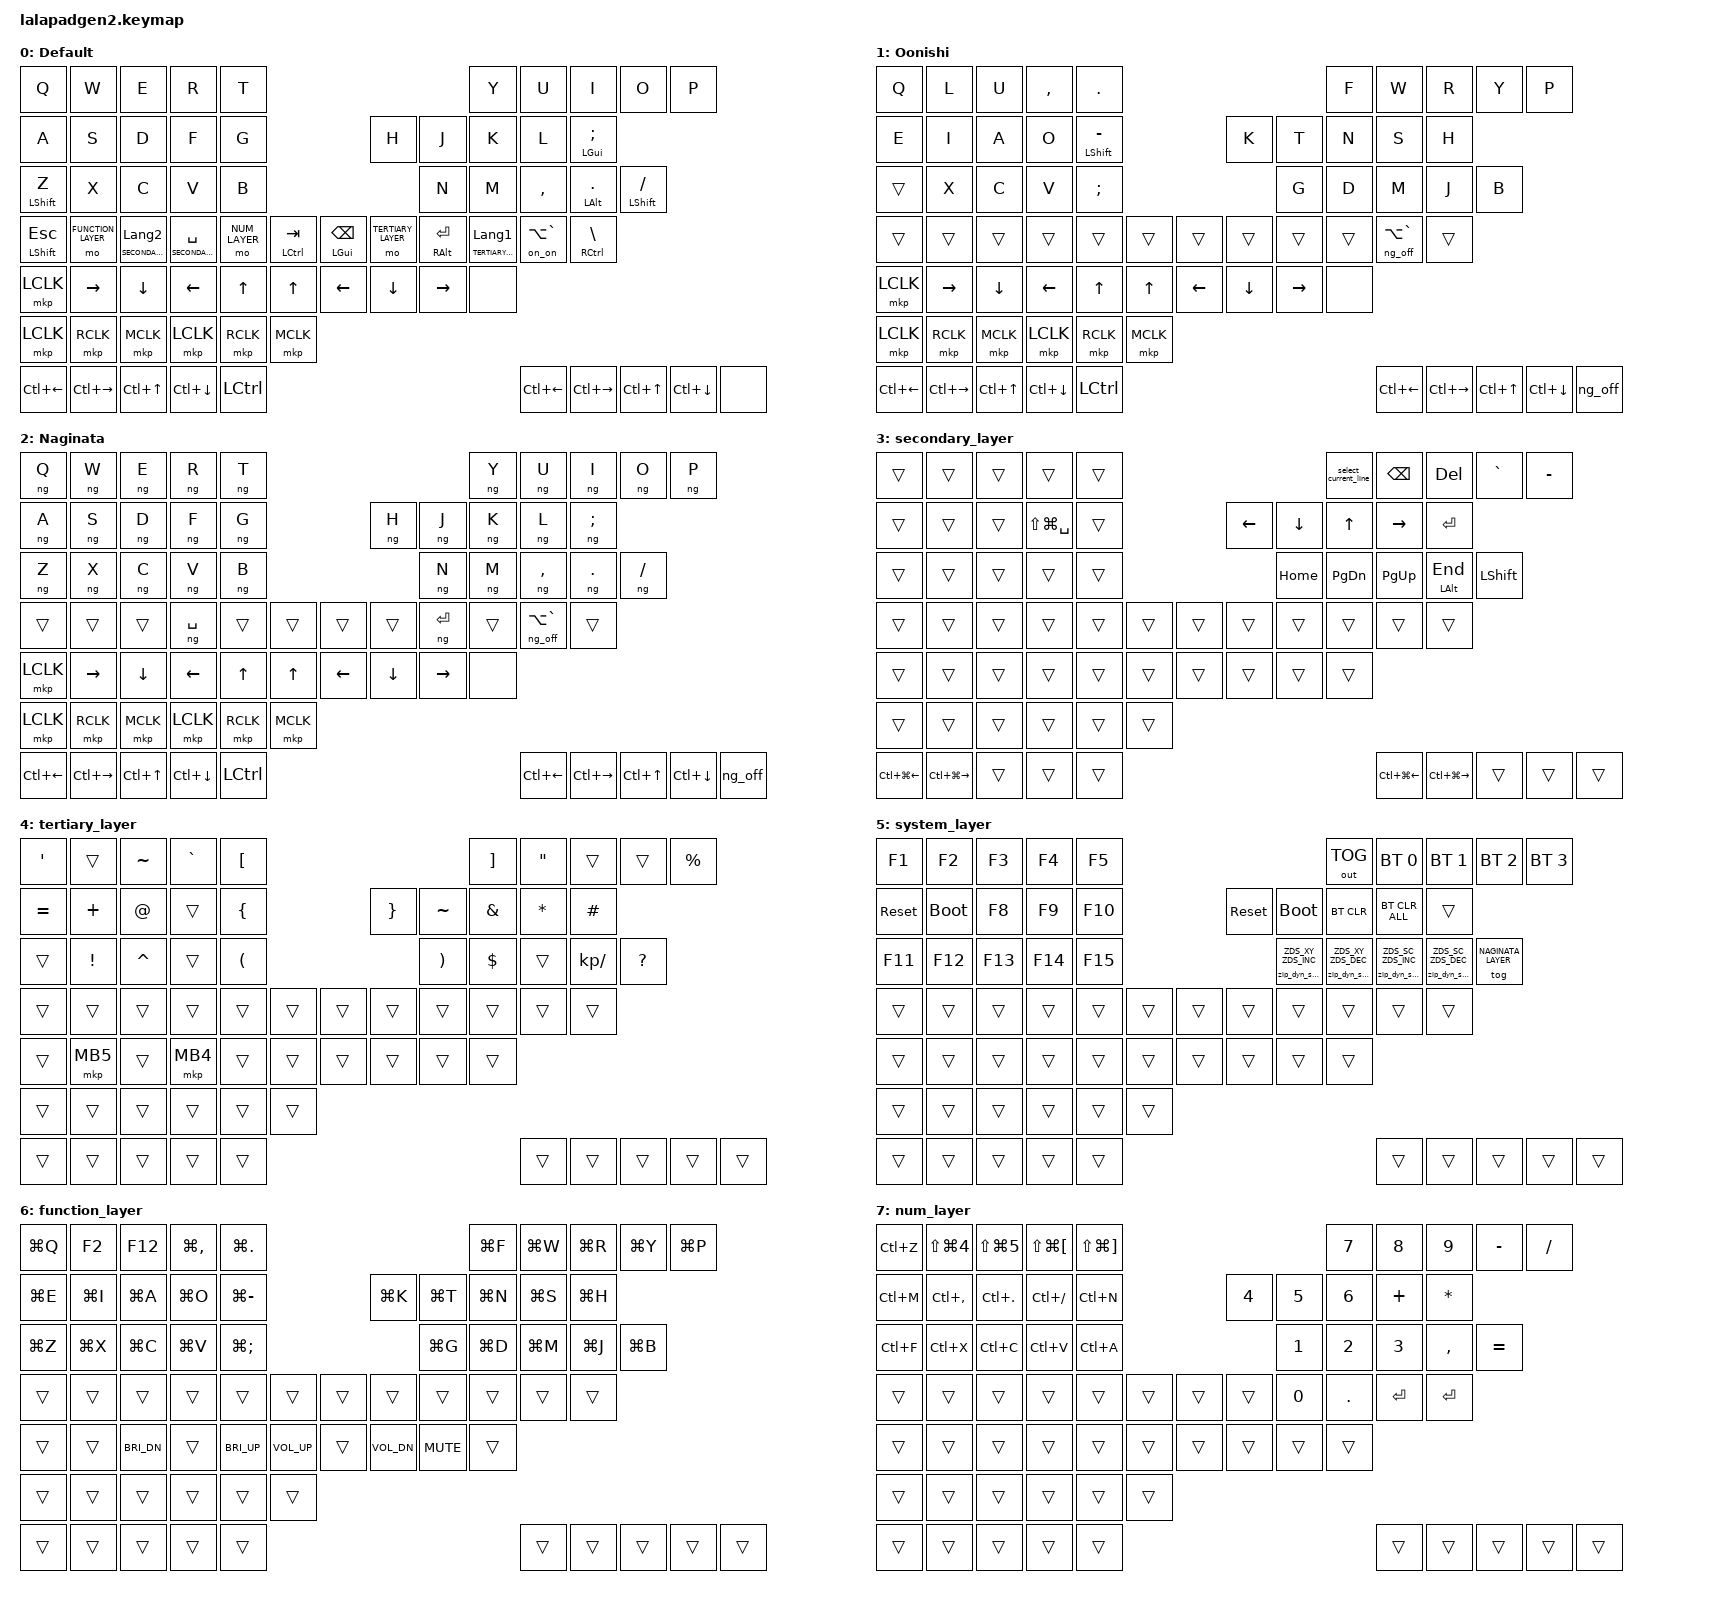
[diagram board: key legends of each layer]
#include <input/processors.dtsi>
#include <dt-bindings/zmk/zip_dynamic_scale.h>
#include <behaviors.dtsi>
#include <dt-bindings/zmk/bt.h>
#include <dt-bindings/zmk/keys.h>
#include <dt-bindings/zmk/outputs.h>
#include <dt-bindings/zmk/pointing.h>
#include <behaviors/naginata.dtsi>

#define DEFAULT_LAYER   0
#define OONISHI_LAYER   1
#define NAGINATA_LAYER  2
#define SECONDARY_LAYER 3
#define TERTIARY_LAYER  4
#define SYSTEM_LAYER    5
#define FUNCTION_LAYER  6
#define NUM_LAYER       7

&mt { quick-tap-ms = <200>; };

&lt {
    flavor = "hold-preferred";
    tapping-term-ms = <150>;
    quick-tap-ms = <150>;
};

/ {
    behaviors {
        zip_dyn_scale: zip_dyn_scale {
            compatible = "zmk,behavior-zip-dynamic-scale";
            #binding-cells = <2>;
        };

        zip_dyn_scale_set: zip_dyn_scale_set {
            compatible = "zmk,behavior-zip-dynamic-scale-set";
            #binding-cells = <2>;
        };

        mt2: mod_tap2 {
            compatible = "zmk,behavior-hold-tap";
            #binding-cells = <2>;
            flavor = "tap-preferred";
            tapping-term-ms = <200>;
            quick-tap-ms = <200>;
            require-prior-idle-ms = <125>;
            bindings = <&kp>, <&kp>;
        };

        z_mt: z_mod_tap {
            compatible = "zmk,behavior-hold-tap";
            #binding-cells = <2>;
            flavor = "tap-preferred";
            tapping-term-ms = <250>;
            quick-tap-ms = <250>;
            require-prior-idle-ms = <125>;
            bindings = <&kp>, <&kp>;
        };

        tap_dance_layer_1and2: tap_dance_layer_1and2 {
            compatible = "zmk,behavior-tap-dance";
            label = "td_mo12";
            #binding-cells = <0>;
            bindings = <&mo SECONDARY_LAYER>, <&mo TERTIARY_LAYER>;
        };

        on_lt: onishi_layer_tap {
            compatible = "zmk,behavior-hold-tap";
            #binding-cells = <2>;
            flavor = "hold-preferred";
            tapping-term-ms = <150>;
            quick-tap-ms = <150>;
            bindings = <&on_on>, <&kp>;
        };

        off_lt: default_layer_tap {
            compatible = "zmk,behavior-hold-tap";
            #binding-cells = <2>;
            flavor = "hold-preferred";
            tapping-term-ms = <150>;
            quick-tap-ms = <150>;
            bindings = <&ng_off>, <&kp>;
        };
    };

    macros {
        ng_on: ng_on {
            compatible = "zmk,behavior-macro";
            #binding-cells = <0>;
            bindings
                = <&macro_tap &kp LANGUAGE_1 &kp INTERNATIONAL_4 &to NAGINATA_LAYER>
                ;
        };
        ng_off: ng_off {
            compatible = "zmk,behavior-macro";
            #binding-cells = <0>;
            bindings
                = <&macro_tap &kp LANGUAGE_2 &kp INTERNATIONAL_5 &to DEFAULT_LAYER>
                ;
        };
        ng_off_to_oonishi: ng_off_to_oonishi {
            compatible = "zmk,behavior-macro";
            #binding-cells = <0>;
            bindings
                = <&macro_tap &kp LANGUAGE_2 &kp INTERNATIONAL_5 &to OONISHI_LAYER>
                ;
        };
        select_current_line: select_current_line {
            compatible = "zmk,behavior-macro";
            #binding-cells = <0>;
            bindings
                = <&macro_tap &kp LG(LEFT) &kp LS(LG(RIGHT))>
                ;
        };
        on_on: on_on {
            compatible = "zmk,behavior-macro";
            #binding-cells = <0>;
            bindings
                = <&macro_tap &kp LANGUAGE_2 &to OONISHI_LAYER>
                ;
        };
    };

    combos {
        compatible = "zmk,combos";

        CONBO_ESC {
            bindings = <&kp ESCAPE>;
            key-positions = <0 1>;
        };
        COMBO_TAB {
            bindings = <&kp TAB>;
            key-positions = <10 11>;
        };
        combo_ng_on {
            timeout-ms = <300>;
            bindings = <&ng_on>;
            key-positions = <15 16>;
            layers = <DEFAULT_LAYER OONISHI_LAYER>;
        };
        combo_ng_off {
            timeout-ms = <300>;
            bindings = <&ng_off_to_oonishi>;
            key-positions = <13 14>;
            layers = <DEFAULT_LAYER OONISHI_LAYER NAGINATA_LAYER>;
        };
    };

    keymap {
        compatible = "zmk,keymap";

        DEFAULT_LAYER {
            display-name = "Default";
            bindings = <
            &kp Q  &kp W  &kp E  &kp R  &kp T  &kp Y  &kp U  &kp I  &kp O  &kp P
            &kp A  &kp S  &kp D  &kp F  &kp G  &kp H  &kp J  &kp K  &kp L  &mt2 LEFT_GUI SEMI
            &z_mt LEFT_SHIFT Z  &kp X  &kp C  &kp V  &kp B  &kp N  &kp M  &kp COMMA  &mt LEFT_ALT PERIOD  &mt LEFT_SHIFT SLASH
            &mt LEFT_SHIFT ESC  &mo FUNCTION_LAYER  &lt SECONDARY_LAYER LANGUAGE_2  &lt SECONDARY_LAYER SPACE  &mo NUM_LAYER  &mt LCTRL TAB  &mt LGUI BACKSPACE  &mo TERTIARY_LAYER  &mt RALT ENTER  &lt TERTIARY_LAYER LANGUAGE_1  &on_lt 0 LA(GRAVE)  &mt RCTRL BACKSLASH
            &mkp LCLK  &kp RIGHT  &kp DOWN  &kp LEFT  &kp UP  &kp UP  &kp LEFT  &kp DOWN  &kp RIGHT  &none
            &mkp LCLK  &mkp RCLK  &mkp MCLK  &mkp LCLK  &mkp RCLK  &mkp MCLK
            &kp LC(LEFT)  &kp LC(RIGHT)  &kp LC(UP)  &kp LC(DOWN)  &kp LCTRL  &kp LC(LEFT)  &kp LC(RIGHT)  &kp LC(UP)  &kp LC(DOWN)  &none
            >;
        };

        OONISHI_LAYER {
            display-name = "Oonishi";
            bindings = <
            &kp Q  &kp L  &kp U  &kp COMMA  &kp DOT  &kp F  &kp W  &kp R  &kp Y  &kp P
            &kp E  &kp I  &kp A  &kp O  &mt LEFT_SHIFT MINUS  &kp K  &kp T  &kp N  &kp S  &kp H
            &trans  &kp X  &kp C  &kp V  &kp SEMI  &kp G  &kp D  &kp M  &kp J  &kp B
            &trans  &trans  &trans  &trans  &trans  &trans  &trans  &trans  &trans  &trans  &off_lt 0 LA(GRAVE)  &trans
            &mkp LCLK  &kp RIGHT  &kp DOWN  &kp LEFT  &kp UP  &kp UP  &kp LEFT  &kp DOWN  &kp RIGHT  &none
            &mkp LCLK  &mkp RCLK  &mkp MCLK  &mkp LCLK  &mkp RCLK  &mkp MCLK
            &kp LC(LEFT)  &kp LC(RIGHT)  &kp LC(UP)  &kp LC(DOWN)  &kp LCTRL  &kp LC(LEFT)  &kp LC(RIGHT)  &kp LC(UP)  &kp LC(DOWN)  &ng_off
            >;
        };

        NAGINATA_LAYER {
            display-name = "Naginata";
            bindings = <
            &ng Q  &ng W  &ng E  &ng R  &ng T  &ng Y  &ng U  &ng I  &ng O  &ng P
            &ng A  &ng S  &ng D  &ng F  &ng G  &ng H  &ng J  &ng K  &ng L  &ng SEMI
            &ng Z  &ng X  &ng C  &ng V  &ng B  &ng N  &ng M  &ng COMMA  &ng DOT  &ng SLASH
            &trans  &trans  &trans  &ng SPACE  &trans  &trans  &trans  &trans  &ng ENTER  &trans  &off_lt 0 LA(GRAVE)  &trans
            &mkp LCLK  &kp RIGHT  &kp DOWN  &kp LEFT  &kp UP  &kp UP  &kp LEFT  &kp DOWN  &kp RIGHT  &none
            &mkp LCLK  &mkp RCLK  &mkp MCLK  &mkp LCLK  &mkp RCLK  &mkp MCLK
            &kp LC(LEFT)  &kp LC(RIGHT)  &kp LC(UP)  &kp LC(DOWN)  &kp LCTRL  &kp LC(LEFT)  &kp LC(RIGHT)  &kp LC(UP)  &kp LC(DOWN)  &ng_off
            >;
        };

        SECONDARY_LAYER {
            display-name = "secondary_layer";
            bindings = <
            &trans  &trans  &trans  &trans  &trans  &select_current_line  &kp BACKSPACE  &kp DELETE  &kp GRAVE  &kp MINUS
            &trans  &trans  &trans  &kp LS(LG(SPACE))  &trans  &kp LEFT  &kp DOWN  &kp UP  &kp RIGHT  &kp ENTER
            &trans  &trans  &trans  &trans  &trans  &kp HOME  &kp PAGE_DOWN  &kp PAGE_UP  &mt LEFT_ALT END  &kp LEFT_SHIFT
            &trans  &trans  &trans  &trans  &trans  &trans  &trans  &trans  &trans  &trans  &trans  &trans
            &trans  &trans  &trans  &trans  &trans  &trans  &trans  &trans  &trans  &trans
            &trans  &trans  &trans  &trans  &trans  &trans
            &kp LC(LG(LEFT))  &kp LC(LG(RIGHT))  &trans  &trans  &trans  &kp LC(LG(LEFT))  &kp LC(LG(RIGHT))  &trans  &trans  &trans
            >;
        };

        TERTIARY_LAYER {
            display-name = "tertiary_layer";
            bindings = <
            &kp SQT  &trans  &kp TILDE  &kp GRAVE  &kp LBKT  &kp RBKT  &kp DQT  &trans  &trans  &kp PRCNT
            &kp EQUAL  &kp PLUS  &kp AT  &trans  &kp LBRC  &kp RBRC  &kp TILDE  &kp AMPS  &kp STAR  &kp HASH
            &trans  &kp EXCL  &kp CARET  &trans  &kp LPAR  &kp RPAR  &kp DLLR  &trans  &kp KP_DIVIDE  &kp QMARK
            &trans  &trans  &trans  &trans  &trans  &trans  &trans  &trans  &trans  &trans  &trans  &trans
            &trans  &mkp MB5  &trans  &mkp MB4  &trans  &trans  &trans  &trans  &trans  &trans
            &trans  &trans  &trans  &trans  &trans  &trans
            &trans  &trans  &trans  &trans  &trans  &trans  &trans  &trans  &trans  &trans
            >;
        };

        SYSTEM_LAYER {
            display-name = "system_layer";
            bindings = <
            &kp F1  &kp F2  &kp F3  &kp F4  &kp F5  &out OUT_TOG  &bt BT_SEL 0  &bt BT_SEL 1  &bt BT_SEL 2  &bt BT_SEL 3
            &sys_reset  &bootloader  &kp F8  &kp F9  &kp F10  &sys_reset  &bootloader  &bt BT_CLR  &bt BT_CLR_ALL  &trans
            &kp F11  &kp F12  &kp F13  &kp F14  &kp F15  &zip_dyn_scale ZDS_XY ZDS_INC  &zip_dyn_scale ZDS_XY ZDS_DEC  &zip_dyn_scale ZDS_SC ZDS_INC  &zip_dyn_scale ZDS_SC ZDS_DEC  &tog NAGINATA_LAYER
            &trans  &trans  &trans  &trans  &trans  &trans  &trans  &trans  &trans  &trans  &trans  &trans
            &trans  &trans  &trans  &trans  &trans  &trans  &trans  &trans  &trans  &trans
            &trans  &trans  &trans  &trans  &trans  &trans
            &trans  &trans  &trans  &trans  &trans  &trans  &trans  &trans  &trans  &trans
            >;
        };

        FUNCTION_LAYER {
            display-name = "function_layer";
            bindings = <
            &kp LG(Q)  &kp F2  &kp F12  &kp LG(COMMA)  &kp LG(DOT)  &kp LG(F)  &kp LG(W)  &kp LG(R)  &kp LG(Y)  &kp LG(P)
            &kp LG(E)  &kp LG(I)  &kp LG(A)  &kp LG(O)  &kp LG(MINUS)  &kp LG(K)  &kp LG(T)  &kp LG(N)  &kp LG(S)  &kp LG(H)
            &kp LG(Z)  &kp LG(X)  &kp LG(C)  &kp LG(V)  &kp LG(SEMI)  &kp LG(G)  &kp LG(D)  &kp LG(M)  &kp LG(J)  &kp LG(B)
            &trans  &trans  &trans  &trans  &trans  &trans  &trans  &trans  &trans  &trans  &trans  &trans
            &trans  &trans  &kp C_BRI_DN  &trans  &kp C_BRI_UP  &kp C_VOL_UP  &trans  &kp C_VOL_DN  &kp C_MUTE  &trans
            &trans  &trans  &trans  &trans  &trans  &trans
            &trans  &trans  &trans  &trans  &trans  &trans  &trans  &trans  &trans  &trans
            >;
        };

        NUM_LAYER {
            display-name = "num_layer";
            bindings = <
            &kp LC(Z)  &kp LS(LG(N4))  &kp LS(LG(N5))  &kp LS(LG(LBKT))  &kp LS(LG(RBKT))  &kp N7  &kp N8  &kp N9  &kp MINUS  &kp SLASH
            &kp LC(M)  &kp LC(COMMA)  &kp LC(DOT)  &kp LC(SLASH)  &kp LC(N)  &kp N4  &kp N5  &kp N6  &kp PLUS  &kp STAR
            &kp LC(F)  &kp LC(X)  &kp LC(C)  &kp LC(V)  &kp LC(A)  &kp N1  &kp N2  &kp N3  &kp COMMA  &kp EQUAL
            &trans  &trans  &trans  &trans  &trans  &trans  &trans  &trans  &kp N0  &kp DOT  &kp ENTER  &kp ENTER
            &trans  &trans  &trans  &trans  &trans  &trans  &trans  &trans  &trans  &trans
            &trans  &trans  &trans  &trans  &trans  &trans
            &trans  &trans  &trans  &trans  &trans  &trans  &trans  &trans  &trans  &trans
            >;
        };
    };

    conditional_layers {
        compatible = "zmk,conditional-layers";

        Cond_Syslayer {
            if-layers = <SECONDARY_LAYER TERTIARY_LAYER>;
            then-layer = <SYSTEM_LAYER>;
        };
    };
};
